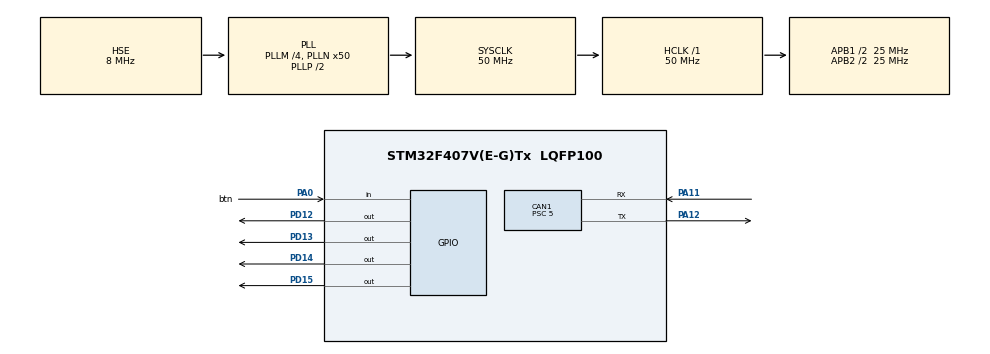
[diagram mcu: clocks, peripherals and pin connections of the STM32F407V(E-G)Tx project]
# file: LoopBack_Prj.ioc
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CAN1.ABOM=ENABLE
CAN1.AWUM=ENABLE
CAN1.BS1=CAN_BS1_8TQ
CAN1.BS2=CAN_BS2_1TQ
CAN1.CalculateTimeBit=2000
CAN1.CalculateTimeQuantum=200.0
CAN1.Mode=CAN_MODE_LOOPBACK
CAN1.Prescaler=5
Mcu.Family=STM32F4
Mcu.Name=STM32F407V(E-G)Tx
Mcu.Package=LQFP100
NVIC.CAN1_RX0_IRQn=true\:0\:0\:false\:false\:true
NVIC.PriorityGroup=NVIC_PRIORITYGROUP_4
PA0-WKUP.GPIO_Label=btn
PA0-WKUP.GPIO_PuPd=GPIO_PULLUP
PA0-WKUP.Signal=GPIO_Input
PA11.Mode=Master
PA11.Signal=CAN1_RX
PA12.Mode=Master
PA12.Signal=CAN1_TX
PA13.Mode=Serial-Wire
PA13.Signal=SYS_JTMS-SWDIO
PA14.Mode=Serial-Wire
PA14.Signal=SYS_JTCK-SWCLK
PD12.GPIO_ModeDefaultOutputPP=GPIO_MODE_OUTPUT_PP
PD12.GPIO_PuPd=GPIO_NOPULL
PD12.GPIO_Speed=GPIO_SPEED_FREQ_VERY_HIGH
PD12.PinState=GPIO_PIN_SET
PD12.Signal=GPIO_Output
PD13.GPIO_ModeDefaultOutputPP=GPIO_MODE_OUTPUT_PP
PD13.GPIO_PuPd=GPIO_NOPULL
PD13.GPIO_Speed=GPIO_SPEED_FREQ_VERY_HIGH
PD13.PinState=GPIO_PIN_SET
PD13.Signal=GPIO_Output
PD14.GPIO_ModeDefaultOutputPP=GPIO_MODE_OUTPUT_PP
PD14.GPIO_PuPd=GPIO_NOPULL
PD14.GPIO_Speed=GPIO_SPEED_FREQ_VERY_HIGH
PD14.PinState=GPIO_PIN_SET
PD14.Signal=GPIO_Output
PD15.GPIO_ModeDefaultOutputPP=GPIO_MODE_OUTPUT_PP
PD15.GPIO_PuPd=GPIO_NOPULL
PD15.GPIO_Speed=GPIO_SPEED_FREQ_VERY_HIGH
PD15.PinState=GPIO_PIN_SET
PD15.Signal=GPIO_Output
PH0-OSC_IN.Mode=HSE-External-Oscillator
PH0-OSC_IN.Signal=RCC_OSC_IN
PH1-OSC_OUT.Mode=HSE-External-Oscillator
PH1-OSC_OUT.Signal=RCC_OSC_OUT
ProjectManager.HeapSize=0x200
ProjectManager.StackSize=0x400
ProjectManager.TargetToolchain=MDK-ARM V5
RCC.48MHZClocksFreq_Value=25000000
RCC.AHBFreq_Value=50000000
RCC.APB1CLKDivider=RCC_HCLK_DIV2
RCC.APB1Freq_Value=25000000
RCC.APB1TimFreq_Value=50000000
RCC.APB2CLKDivider=RCC_HCLK_DIV2
RCC.APB2Freq_Value=25000000
RCC.APB2TimFreq_Value=50000000
RCC.CortexFreq_Value=50000000
RCC.HCLKFreq_Value=50000000
RCC.HSE_VALUE=8000000
RCC.HSI_VALUE=16000000
RCC.LSE_VALUE=32768
RCC.PLLM=4
RCC.PLLN=50
RCC.PLLSourceVirtual=RCC_PLLSOURCE_HSE
RCC.SYSCLKFreq_VALUE=50000000
RCC.SYSCLKSource=RCC_SYSCLKSOURCE_PLLCLK
RCC.VCOOutputFreq_Value=100000000
board=LoopBack_Prj

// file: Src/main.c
/**
  ******************************************************************************
  * File Name          : main.c
  * Description        : Main program body
  ******************************************************************************
  *
  * COPYRIGHT(c) 2020 STMicroelectronics
  *
  * Redistribution and use in source and binary forms, with or without modification,
  * are permitted provided that the following conditions are met:
  *   1. Redistributions of source code must retain the above copyright notice,
  *      this list of conditions and the following disclaimer.
  *   2. Redistributions in binary form must reproduce the above copyright notice,
  *      this list of conditions and the following disclaimer in the documentation
  *      and/or other materials provided with the distribution.
  *   3. Neither the name of STMicroelectronics nor the names of its contributors
  *      may be used to endorse or promote products derived from this software
  *      without specific prior written permission.
  *
  * THIS SOFTWARE IS PROVIDED BY THE COPYRIGHT HOLDERS AND CONTRIBUTORS "AS IS"
  * AND ANY EXPRESS OR IMPLIED WARRANTIES, INCLUDING, BUT NOT LIMITED TO, THE
  * IMPLIED WARRANTIES OF MERCHANTABILITY AND FITNESS FOR A PARTICULAR PURPOSE ARE
  * DISCLAIMED. IN NO EVENT SHALL THE COPYRIGHT HOLDER OR CONTRIBUTORS BE LIABLE
  * FOR ANY DIRECT, INDIRECT, INCIDENTAL, SPECIAL, EXEMPLARY, OR CONSEQUENTIAL
  * DAMAGES (INCLUDING, BUT NOT LIMITED TO, PROCUREMENT OF SUBSTITUTE GOODS OR
  * SERVICES; LOSS OF USE, DATA, OR PROFITS; OR BUSINESS INTERRUPTION) HOWEVER
  * CAUSED AND ON ANY THEORY OF LIABILITY, WHETHER IN CONTRACT, STRICT LIABILITY,
  * OR TORT (INCLUDING NEGLIGENCE OR OTHERWISE) ARISING IN ANY WAY OUT OF THE USE
  * OF THIS SOFTWARE, EVEN IF ADVISED OF THE POSSIBILITY OF SUCH DAMAGE.
  *
  ******************************************************************************
  */
#include "stm32f4xx_hal.h"

CAN_HandleTypeDef hcan1;

/* USER CODE BEGIN PV */
/* Private variables ---------------------------------------------------------*/
CanTxMsgTypeDef MyTxMsg;
CanRxMsgTypeDef MyRxMsg;

uint8_t checkTx = 0;
uint8_t checkRx = 0;
uint16_t myID = 0x456;
uint16_t thatID = 0x123;

/* USER CODE END PV */

void SystemClock_Config(void);
static void MX_GPIO_Init(void);
static void MX_CAN1_Init(void);

/* USER CODE BEGIN PFP */
/* Private function prototypes -----------------------------------------------*/
void CAN_FilterConfig(void);
void CAN_TransmitConfig(void);
/* USER CODE END PFP */

int main(void)
{

  /* MCU Configuration----------------------------------------------------------*/

  /* Reset of all peripherals, Initializes the Flash interface and the Systick. */
  HAL_Init();

  /* Configure the system clock */
  SystemClock_Config();

  /* Initialize all configured peripherals */
  MX_GPIO_Init();
  MX_CAN1_Init();

  /* USER CODE BEGIN 2 */

	hcan1.pTxMsg = &MyTxMsg;
	hcan1.pRxMsg = &MyRxMsg;

	//filter init
	CAN_FilterConfig();

	//Transmit
	CAN_TransmitConfig();

	//Receive interrupt
	HAL_CAN_Receive_IT(&hcan1, CAN_FIFO0);
  /* USER CODE END 2 */

  /* Infinite loop */
  while (1)
  {

  /* USER CODE BEGIN 3 */
		if(HAL_GPIO_ReadPin(GPIOA, GPIO_PIN_0) == GPIO_PIN_RESET) //if press button
		{
			hcan1.pTxMsg->Data[0] = 0x01; //send 1byte
			HAL_CAN_Transmit(&hcan1, 1000);
			//blynk if transmit SUCCESS
			HAL_GPIO_WritePin(GPIOD, GPIO_PIN_12, GPIO_PIN_SET);
			HAL_Delay(500);
			HAL_GPIO_WritePin(GPIOD, GPIO_PIN_12, GPIO_PIN_RESET);
			checkTx = 0;
		}
		if(checkRx) //if receive succes
		{
			HAL_Delay(500);
			HAL_GPIO_WritePin(GPIOD, GPIO_PIN_13, GPIO_PIN_RESET); //turn off led receive
		}
  }
  /* USER CODE END 3 */

}

/** System Clock Configuration
*/
void SystemClock_Config(void)
{

  RCC_OscInitTypeDef RCC_OscInitStruct;
  RCC_ClkInitTypeDef RCC_ClkInitStruct;

  __HAL_RCC_PWR_CLK_ENABLE();

  __HAL_PWR_VOLTAGESCALING_CONFIG(PWR_REGULATOR_VOLTAGE_SCALE1);

  RCC_OscInitStruct.OscillatorType = RCC_OSCILLATORTYPE_HSE;
  RCC_OscInitStruct.HSEState = RCC_HSE_ON;
  RCC_OscInitStruct.PLL.PLLState = RCC_PLL_ON;
  RCC_OscInitStruct.PLL.PLLSource = RCC_PLLSOURCE_HSE;
  RCC_OscInitStruct.PLL.PLLM = 4;
  RCC_OscInitStruct.PLL.PLLN = 50;
  RCC_OscInitStruct.PLL.PLLP = RCC_PLLP_DIV2;
  RCC_OscInitStruct.PLL.PLLQ = 4;
  HAL_RCC_OscConfig(&RCC_OscInitStruct);

  RCC_ClkInitStruct.ClockType = RCC_CLOCKTYPE_HCLK|RCC_CLOCKTYPE_SYSCLK
                              |RCC_CLOCKTYPE_PCLK1|RCC_CLOCKTYPE_PCLK2;
  RCC_ClkInitStruct.SYSCLKSource = RCC_SYSCLKSOURCE_PLLCLK;
  RCC_ClkInitStruct.AHBCLKDivider = RCC_SYSCLK_DIV1;
  RCC_ClkInitStruct.APB1CLKDivider = RCC_HCLK_DIV2;
  RCC_ClkInitStruct.APB2CLKDivider = RCC_HCLK_DIV2;
  HAL_RCC_ClockConfig(&RCC_ClkInitStruct, FLASH_LATENCY_1);

  HAL_SYSTICK_Config(HAL_RCC_GetHCLKFreq()/1000);

  HAL_SYSTICK_CLKSourceConfig(SYSTICK_CLKSOURCE_HCLK);

  /* SysTick_IRQn interrupt configuration */
  HAL_NVIC_SetPriority(SysTick_IRQn, 0, 0);
}

/* CAN1 init function */
void MX_CAN1_Init(void)
{

  hcan1.Instance = CAN1;
  hcan1.Init.Prescaler = 5;
  hcan1.Init.Mode = CAN_MODE_LOOPBACK;
  hcan1.Init.SJW = CAN_SJW_1TQ;
  hcan1.Init.BS1 = CAN_BS1_8TQ;
  hcan1.Init.BS2 = CAN_BS2_1TQ;
  hcan1.Init.TTCM = DISABLE;
  hcan1.Init.ABOM = ENABLE;
  hcan1.Init.AWUM = ENABLE;
  hcan1.Init.NART = DISABLE;
  hcan1.Init.RFLM = DISABLE;
  hcan1.Init.TXFP = DISABLE;
  HAL_CAN_Init(&hcan1);

}

/** Configure pins as
        * Analog
        * Input
        * Output
        * EVENT_OUT
        * EXTI
*/
void MX_GPIO_Init(void)
{

  GPIO_InitTypeDef GPIO_InitStruct;

  /* GPIO Ports Clock Enable */
  __HAL_RCC_GPIOH_CLK_ENABLE();
  __HAL_RCC_GPIOA_CLK_ENABLE();
  __HAL_RCC_GPIOD_CLK_ENABLE();

  /*Configure GPIO pin : btn_Pin */
  GPIO_InitStruct.Pin = btn_Pin;
  GPIO_InitStruct.Mode = GPIO_MODE_INPUT;
  GPIO_InitStruct.Pull = GPIO_PULLUP;
  HAL_GPIO_Init(btn_GPIO_Port, &GPIO_InitStruct);

  /*Configure GPIO pins : PD12 PD13 PD14 PD15 */
  GPIO_InitStruct.Pin = GPIO_PIN_12|GPIO_PIN_13|GPIO_PIN_14|GPIO_PIN_15;
  GPIO_InitStruct.Mode = GPIO_MODE_OUTPUT_PP;
  GPIO_InitStruct.Pull = GPIO_NOPULL;
  GPIO_InitStruct.Speed = GPIO_SPEED_FREQ_VERY_HIGH;
  HAL_GPIO_Init(GPIOD, &GPIO_InitStruct);

  /*Configure GPIO pin Output Level */
  HAL_GPIO_WritePin(GPIOD, GPIO_PIN_12|GPIO_PIN_13|GPIO_PIN_14|GPIO_PIN_15, GPIO_PIN_SET);

}

/* USER CODE BEGIN 4 */

void CAN_FilterConfig(void)
{
	CAN_FilterConfTypeDef filterConfig;

	filterConfig.BankNumber = 14;
	filterConfig.FilterActivation = ENABLE;
	filterConfig.FilterFIFOAssignment = 0;
	filterConfig.FilterIdHigh = 0;
	filterConfig.FilterIdLow = 0;
	filterConfig.FilterMaskIdHigh = 0;
	filterConfig.FilterMaskIdLow = 0;
	filterConfig.FilterMode = CAN_FILTERMODE_IDMASK;
	filterConfig.FilterNumber = 0;
	filterConfig.FilterScale = CAN_FILTERSCALE_32BIT;

	HAL_CAN_ConfigFilter(&hcan1, &filterConfig);
}

void CAN_TransmitConfig(void)
{
	hcan1.pTxMsg->StdId = myID;
	hcan1.pTxMsg->RTR = CAN_RTR_DATA;
	hcan1.pTxMsg->IDE = CAN_ID_STD;
	hcan1.pTxMsg->DLC = 1;
}

void HAL_CAN_RxCpltCallback(CAN_HandleTypeDef* hcan)
{
	if(hcan->pRxMsg->StdId == thatID) //if ID correct
	{
		//turn on Led receive
		HAL_GPIO_WritePin(GPIOD, GPIO_PIN_13, GPIO_PIN_SET);
		checkRx = 1;
	}
}

/* USER CODE END 4 */

/************************ (C) COPYRIGHT STMicroelectronics *****END OF FILE****/
